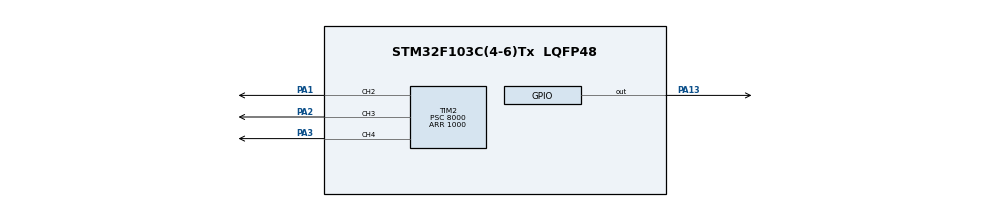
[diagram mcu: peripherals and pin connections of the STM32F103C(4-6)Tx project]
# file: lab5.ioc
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Mcu.Family=STM32F1
Mcu.Name=STM32F103C(4-6)Tx
Mcu.Package=LQFP48
NVIC.PriorityGroup=NVIC_PRIORITYGROUP_4
NVIC.TIM3_IRQn=true\:0\:0\:false\:true\:true\:1\:true\:true
PA1.Signal=S_TIM2_CH2
PA13.Signal=GPIO_Output
PA2.Signal=S_TIM2_CH3
PA3.Signal=S_TIM2_CH4
ProjectManager.HeapSize=0x200
ProjectManager.StackSize=0x400
ProjectManager.TargetToolchain=STM32CubeIDE
RCC.AHBFreq_Value=8000000
RCC.APB1Freq_Value=8000000
RCC.APB1TimFreq_Value=8000000
RCC.APB2CLKDivider=RCC_HCLK_DIV4
RCC.APB2Freq_Value=2000000
RCC.APB2TimFreq_Value=4000000
RCC.HCLKFreq_Value=8000000
SH.S_TIM2_CH2.0=TIM2_CH2,PWM Generation2 CH2
SH.S_TIM2_CH3.0=TIM2_CH3,PWM Generation3 CH3
SH.S_TIM2_CH4.0=TIM2_CH4,PWM Generation4 CH4
TIM2.Channel-PWM\ Generation2\ CH2=TIM_CHANNEL_2
TIM2.Channel-PWM\ Generation3\ CH3=TIM_CHANNEL_3
TIM2.Channel-PWM\ Generation4\ CH4=TIM_CHANNEL_4
TIM2.Period=1000
TIM2.Prescaler=8000
TIM2.Pulse-PWM\ Generation2\ CH2=100
TIM2.Pulse-PWM\ Generation3\ CH3=500
TIM2.Pulse-PWM\ Generation4\ CH4=800
TIM3.Period=1000
TIM3.Prescaler=6000
TIM3.TIM_MasterOutputTrigger=TIM_TRGO_UPDATE
VP_SYS_VS_ND.Mode=No_Debug
VP_TIM2_VS_ClockSourceINT.Mode=Internal
VP_TIM3_VS_ClockSourceINT.Mode=Internal
board=custom

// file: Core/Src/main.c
/* USER CODE BEGIN Header */
/**
  ******************************************************************************
  * @file           : main.c
  * @brief          : Main program body
  ******************************************************************************
  * @attention
  *
  * <h2><center>&copy; Copyright (c) 2021 STMicroelectronics.
  * All rights reserved.</center></h2>
  *
  * This software component is licensed by ST under BSD 3-Clause license,
  * the "License"; You may not use this file except in compliance with the
  * License. You may obtain a copy of the License at:
  *                        opensource.org/licenses/BSD-3-Clause
  *
  ******************************************************************************
  */
/* USER CODE END Header */
#include "main.h"

TIM_HandleTypeDef htim2;
TIM_HandleTypeDef htim3;

void SystemClock_Config(void);
static void MX_GPIO_Init(void);
static void MX_TIM2_Init(void);
static void MX_TIM3_Init(void);
static void MX_NVIC_Init(void);

int main(void)
{

  /* MCU Configuration--------------------------------------------------------*/

  /* Reset of all peripherals, Initializes the Flash interface and the Systick. */
  HAL_Init();

  /* Configure the system clock */
  SystemClock_Config();

  /* Initialize all configured peripherals */
  MX_GPIO_Init();
  MX_TIM2_Init();
  MX_TIM3_Init();

  /* Initialize interrupts */
  MX_NVIC_Init();
  /* USER CODE BEGIN 2 */
  HAL_TIM_PWM_Start(&htim2, TIM_CHANNEL_2);
  HAL_TIM_PWM_Start(&htim2, TIM_CHANNEL_3);
  HAL_TIM_PWM_Start(&htim2, TIM_CHANNEL_4);

  HAL_TIM_Base_Start_IT(&htim3);
  /* USER CODE END 2 */

  /* Infinite loop */
	  while (1)
	  {

	  }
}

void SystemClock_Config(void)
{
  RCC_OscInitTypeDef RCC_OscInitStruct = {0};
  RCC_ClkInitTypeDef RCC_ClkInitStruct = {0};

  /** Initializes the RCC Oscillators according to the specified parameters
  * in the RCC_OscInitTypeDef structure.
  */
  RCC_OscInitStruct.OscillatorType = RCC_OSCILLATORTYPE_HSI;
  RCC_OscInitStruct.HSIState = RCC_HSI_ON;
  RCC_OscInitStruct.HSICalibrationValue = RCC_HSICALIBRATION_DEFAULT;
  RCC_OscInitStruct.PLL.PLLState = RCC_PLL_NONE;
  if (HAL_RCC_OscConfig(&RCC_OscInitStruct) != HAL_OK)
  {
    Error_Handler();
  }
  /** Initializes the CPU, AHB and APB buses clocks
  */
  RCC_ClkInitStruct.ClockType = RCC_CLOCKTYPE_HCLK|RCC_CLOCKTYPE_SYSCLK
                              |RCC_CLOCKTYPE_PCLK1|RCC_CLOCKTYPE_PCLK2;
  RCC_ClkInitStruct.SYSCLKSource = RCC_SYSCLKSOURCE_HSI;
  RCC_ClkInitStruct.AHBCLKDivider = RCC_SYSCLK_DIV1;
  RCC_ClkInitStruct.APB1CLKDivider = RCC_HCLK_DIV1;
  RCC_ClkInitStruct.APB2CLKDivider = RCC_HCLK_DIV4;

  if (HAL_RCC_ClockConfig(&RCC_ClkInitStruct, FLASH_LATENCY_0) != HAL_OK)
  {
    Error_Handler();
  }
}

/**
  * @brief NVIC Configuration.
  * @retval None
  */
static void MX_NVIC_Init(void)
{
  /* TIM3_IRQn interrupt configuration */
  HAL_NVIC_SetPriority(TIM3_IRQn, 0, 0);
  HAL_NVIC_EnableIRQ(TIM3_IRQn);
}

static void MX_TIM2_Init(void)
{

  TIM_ClockConfigTypeDef sClockSourceConfig = {0};
  TIM_MasterConfigTypeDef sMasterConfig = {0};
  TIM_OC_InitTypeDef sConfigOC = {0};

  htim2.Instance = TIM2;
  htim2.Init.Prescaler = 8000;
  htim2.Init.CounterMode = TIM_COUNTERMODE_UP;
  htim2.Init.Period = 1000;
  htim2.Init.ClockDivision = TIM_CLOCKDIVISION_DIV1;
  htim2.Init.AutoReloadPreload = TIM_AUTORELOAD_PRELOAD_DISABLE;
  if (HAL_TIM_Base_Init(&htim2) != HAL_OK)
  {
    Error_Handler();
  }
  sClockSourceConfig.ClockSource = TIM_CLOCKSOURCE_INTERNAL;
  if (HAL_TIM_ConfigClockSource(&htim2, &sClockSourceConfig) != HAL_OK)
  {
    Error_Handler();
  }
  if (HAL_TIM_PWM_Init(&htim2) != HAL_OK)
  {
    Error_Handler();
  }
  sMasterConfig.MasterOutputTrigger = TIM_TRGO_RESET;
  sMasterConfig.MasterSlaveMode = TIM_MASTERSLAVEMODE_DISABLE;
  if (HAL_TIMEx_MasterConfigSynchronization(&htim2, &sMasterConfig) != HAL_OK)
  {
    Error_Handler();
  }
  sConfigOC.OCMode = TIM_OCMODE_PWM1;
  sConfigOC.Pulse = 100;
  sConfigOC.OCPolarity = TIM_OCPOLARITY_HIGH;
  sConfigOC.OCFastMode = TIM_OCFAST_DISABLE;
  if (HAL_TIM_PWM_ConfigChannel(&htim2, &sConfigOC, TIM_CHANNEL_2) != HAL_OK)
  {
    Error_Handler();
  }
  sConfigOC.Pulse = 500;
  if (HAL_TIM_PWM_ConfigChannel(&htim2, &sConfigOC, TIM_CHANNEL_3) != HAL_OK)
  {
    Error_Handler();
  }
  sConfigOC.Pulse = 800;
  if (HAL_TIM_PWM_ConfigChannel(&htim2, &sConfigOC, TIM_CHANNEL_4) != HAL_OK)
  {
    Error_Handler();
  }
  HAL_TIM_MspPostInit(&htim2);

}

static void MX_TIM3_Init(void)
{

  TIM_ClockConfigTypeDef sClockSourceConfig = {0};
  TIM_MasterConfigTypeDef sMasterConfig = {0};

  htim3.Instance = TIM3;
  htim3.Init.Prescaler = 6000;
  htim3.Init.CounterMode = TIM_COUNTERMODE_UP;
  htim3.Init.Period = 1000;
  htim3.Init.ClockDivision = TIM_CLOCKDIVISION_DIV1;
  htim3.Init.AutoReloadPreload = TIM_AUTORELOAD_PRELOAD_DISABLE;
  if (HAL_TIM_Base_Init(&htim3) != HAL_OK)
  {
    Error_Handler();
  }
  sClockSourceConfig.ClockSource = TIM_CLOCKSOURCE_INTERNAL;
  if (HAL_TIM_ConfigClockSource(&htim3, &sClockSourceConfig) != HAL_OK)
  {
    Error_Handler();
  }
  sMasterConfig.MasterOutputTrigger = TIM_TRGO_UPDATE;
  sMasterConfig.MasterSlaveMode = TIM_MASTERSLAVEMODE_DISABLE;
  if (HAL_TIMEx_MasterConfigSynchronization(&htim3, &sMasterConfig) != HAL_OK)
  {
    Error_Handler();
  }

}

static void MX_GPIO_Init(void)
{
  GPIO_InitTypeDef GPIO_InitStruct = {0};

  /* GPIO Ports Clock Enable */
  __HAL_RCC_GPIOA_CLK_ENABLE();

  /*Configure GPIO pin Output Level */
  HAL_GPIO_WritePin(GPIOA, GPIO_PIN_13, GPIO_PIN_RESET);

  /*Configure GPIO pin : PA13 */
  GPIO_InitStruct.Pin = GPIO_PIN_13;
  GPIO_InitStruct.Mode = GPIO_MODE_OUTPUT_PP;
  GPIO_InitStruct.Pull = GPIO_NOPULL;
  GPIO_InitStruct.Speed = GPIO_SPEED_FREQ_LOW;
  HAL_GPIO_Init(GPIOA, &GPIO_InitStruct);

}

/* USER CODE BEGIN 4 */
int myPulsePWM = 0;
int bit = 1;

void HAL_TIM_PeriodElapsedCallback(TIM_HandleTypeDef *htim)
{

	HAL_GPIO_TogglePin(GPIOA, GPIO_PIN_13);

	if(bit == 1)
		myPulsePWM = myPulsePWM + 100;
	else
		myPulsePWM = myPulsePWM - 100;

	__HAL_TIM_SetCompare(&htim2, TIM_CHANNEL_2, myPulsePWM);

	if(myPulsePWM == 900)
		bit = 0;
	else if (myPulsePWM == 0)
		bit = 1;

}
/* USER CODE END 4 */

void Error_Handler(void)
{
  __disable_irq();
  while (1)
  {
  }
}

/************************ (C) COPYRIGHT STMicroelectronics *****END OF FILE****/
